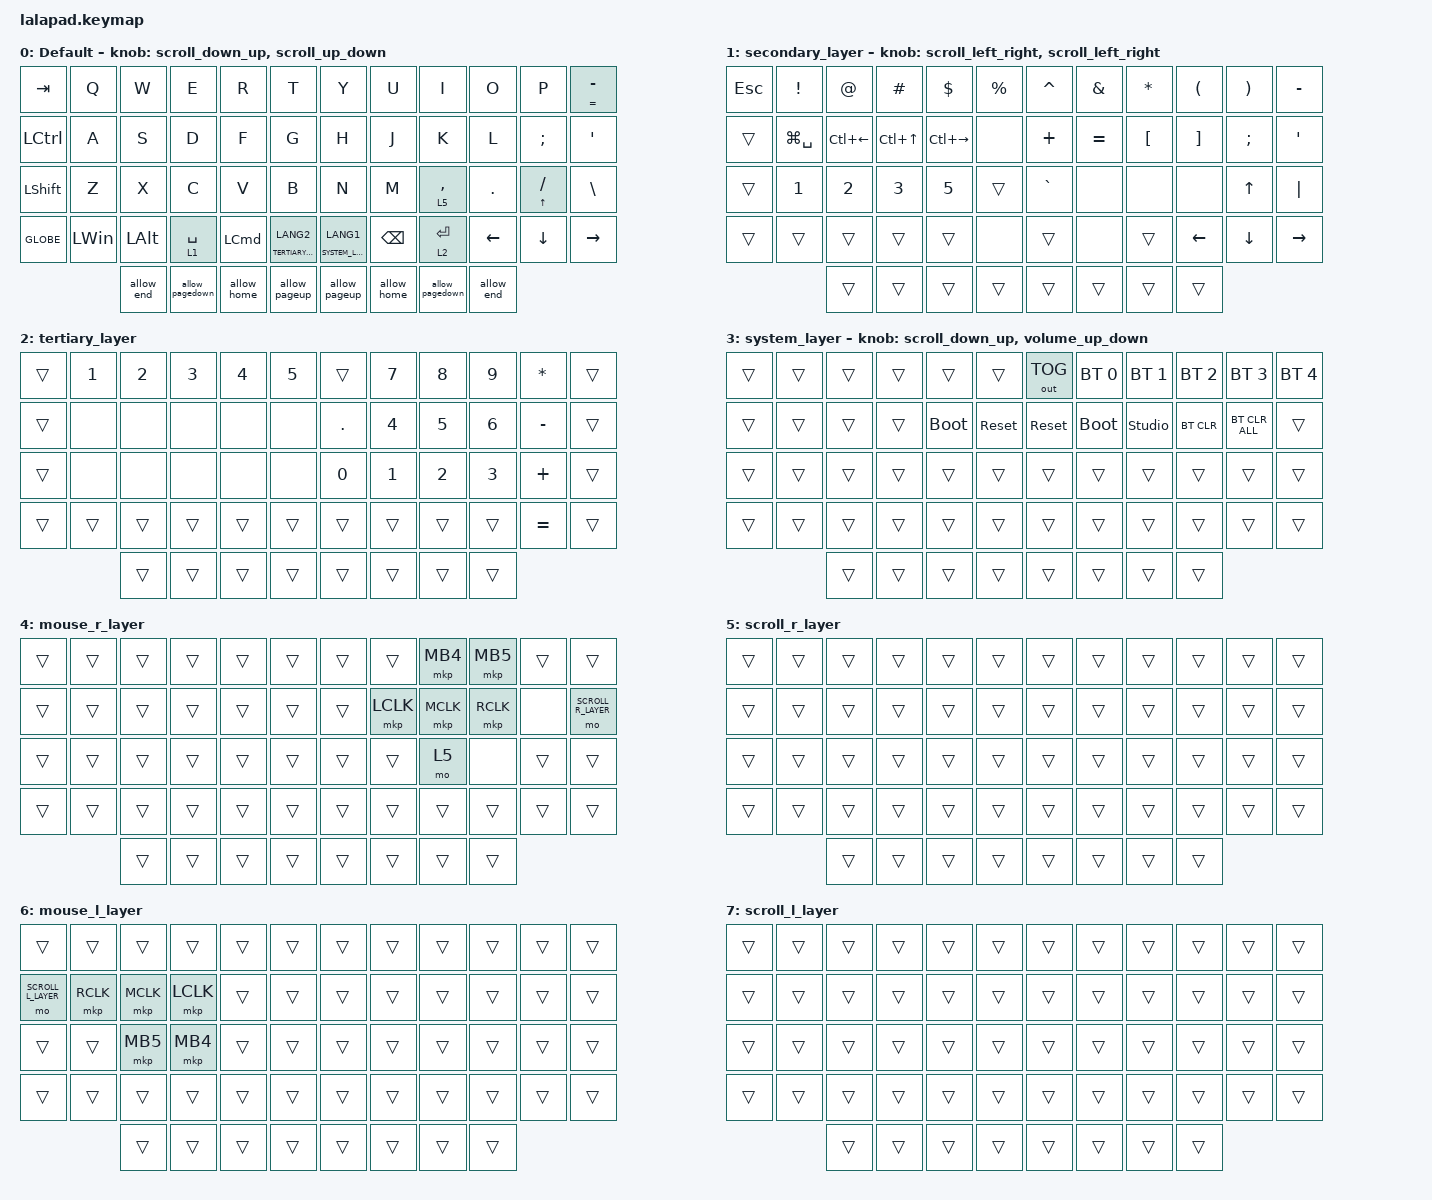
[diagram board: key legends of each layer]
#include <input/processors.dtsi>
#include <behaviors.dtsi>
#include <dt-bindings/zmk/bt.h>
#include <dt-bindings/zmk/keys.h>
#include <dt-bindings/zmk/outputs.h>
#include <dt-bindings/zmk/pointing.h>

#define DEFAULT_LAYER   0
#define SECONDARY_LAYER 1
#define TERTIARY_LAYER  2
#define SYSTEM_LAYER    3
#define MOUSE_R_LAYER   4
#define SCROLL_R_LAYER  5
#define MOUSE_L_LAYER   6
#define SCROLL_L_LAYER  7

// Mouse Scroll Value

#define ZMK_POINTING_DEFAULT_SCRL_VAL 100

// cirque trackpad input&layer control

&glidepoint_listener_R {
    input-processors =
        <&zip_xy_transform (INPUT_TRANSFORM_XY_SWAP | INPUT_TRANSFORM_X_INVERT | INPUT_TRANSFORM_Y_INVERT)>,
        <&zip_xy_scaler 4 2>,
        <&zip_temp_layer MOUSE_R_LAYER 500>;

    lowspeedmode {
        layers = <SECONDARY_LAYER>;
        input-processors =
            <&zip_xy_transform (INPUT_TRANSFORM_XY_SWAP | INPUT_TRANSFORM_X_INVERT | INPUT_TRANSFORM_Y_INVERT)>,
            <&zip_xy_scaler 3 5>,
            <&zip_temp_layer MOUSE_R_LAYER 500>;
    };

    scroller {
        layers = <SCROLL_R_LAYER>;
        input-processors =
            <&zip_xy_to_scroll_mapper>,
            <&zip_scroll_transform (INPUT_TRANSFORM_XY_SWAP)>,
            <&zip_scroll_scaler 1 8>;
    };
};

&glidepoint_listener_L {
    input-processors =
        <&zip_xy_transform (INPUT_TRANSFORM_XY_SWAP | INPUT_TRANSFORM_X_INVERT | INPUT_TRANSFORM_Y_INVERT)>,
        <&zip_xy_scaler 4 2>,
        <&zip_temp_layer MOUSE_L_LAYER 500>;

    lowspeedmode {
        layers = <SECONDARY_LAYER>;
        input-processors =
            <&zip_xy_transform (INPUT_TRANSFORM_XY_SWAP | INPUT_TRANSFORM_X_INVERT | INPUT_TRANSFORM_Y_INVERT)>,
            <&zip_xy_scaler 3 4>,
            <&zip_temp_layer MOUSE_L_LAYER 500>;
    };

    scroller {
        layers = <SCROLL_L_LAYER>;
        input-processors =
            <&zip_xy_to_scroll_mapper>,
            <&zip_scroll_transform (INPUT_TRANSFORM_XY_SWAP)>,
            <&zip_scroll_scaler 1 6>;
    };
};

/ {
    behaviors {
        // Encoder to Mouse Scroll

        scroll_up_down: sensor_scroll_up_down {
            compatible = "zmk,behavior-sensor-rotate";
            #sensor-binding-cells = <0>;
            bindings = <&msc SCRL_UP>, <&msc SCRL_DOWN>;

            tap-ms = <20>;
            label = "SCROLL_UP_DOWN";
        };

        scroll_down_up: sensor_scroll_down_up {
            compatible = "zmk,behavior-sensor-rotate";
            #sensor-binding-cells = <0>;
            bindings = <&msc SCRL_DOWN>, <&msc SCRL_UP>;

            tap-ms = <20>;
            label = "SCROLL_DOWN_UP";
        };

        scroll_left_right: sensor_scroll_left_right {
            compatible = "zmk,behavior-sensor-rotate";
            #sensor-binding-cells = <0>;
            bindings = <&msc SCRL_LEFT>, <&msc SCRL_RIGHT>;

            tap-ms = <20>;
            label = "SCROLL_LEFT_RIGHT";
        };

        scroll_right_left: sensor_scroll_right_left {
            compatible = "zmk,behavior-sensor-rotate";
            #sensor-binding-cells = <0>;
            bindings = <&msc SCRL_RIGHT>, <&msc SCRL_LEFT>;

            tap-ms = <20>;
            label = "SCROLL_RIGHT_LEFT";
        };

        volume_up_down: sensor_volume_up_down {
            compatible = "zmk,behavior-sensor-rotate";
            #sensor-binding-cells = <0>;
            bindings = <&kp C_VOLUME_UP>, <&kp C_VOLUME_DOWN>;

            tap-ms = <20>;
            label = "VOLUME_UP_DOWN";
        };

        dot_comma: dot_comma {
            compatible = "zmk,behavior-mod-morph";
            #binding-cells = <0>;
            bindings = <&kp KP_DOT>, <&kp COMMA>;

            mods = <(MOD_LSFT|MOD_RSFT)>;
            label = "DOT_COMMA";
        };

        pls_minus: pls_minus {
            compatible = "zmk,behavior-mod-morph";
            #binding-cells = <0>;
            bindings = <&kp PLUS>, <&kp MINUS>;

            mods = <(MOD_LSFT|MOD_RSFT)>;
            label = "PLS_MINUS";
        };

        allow_pageup: allow_pageup {
            compatible = "zmk,behavior-mod-morph";
            #binding-cells = <0>;
            bindings = <&kp UP>, <&kp PAGE_UP>;

            mods = <(MOD_LCTL|MOD_RCTL)>;
            label = "ALLOW_PAGEUP";
        };

        allow_pagedown: allow_pagedown {
            compatible = "zmk,behavior-mod-morph";
            #binding-cells = <0>;
            bindings = <&kp DOWN>, <&kp PAGE_DOWN>;

            mods = <(MOD_LCTL|MOD_RCTL)>;
            label = "ALLOW_PAGEDOWN";
        };

        allow_home: allow_home {
            compatible = "zmk,behavior-mod-morph";
            #binding-cells = <0>;
            bindings = <&kp LEFT>, <&kp HOME>;

            mods = <(MOD_LCTL|MOD_RCTL)>;
            label = "ALLOW_HOME";
        };

        allow_end: allow_end {
            compatible = "zmk,behavior-mod-morph";
            #binding-cells = <0>;
            bindings = <&kp RIGHT>, <&kp END>;

            mods = <(MOD_LCTL|MOD_RCTL)>;
            label = "ALLOW_END";
        };

        mt2: mod_tap2 {
            compatible = "zmk,behavior-hold-tap";
            #binding-cells = <2>;
            flavor = "tap-preferred";
            tapping-term-ms = <200>;
            quick-tap-ms = <200>;
            require-prior-idle-ms = <125>;
            bindings = <&kp>, <&kp>;
        };
    };

    combos {
        compatible = "zmk,combos";

        lang2 {
            bindings = <&kp LANG2>;
            key-positions = <7 8>;
        };

        lang1 {
            bindings = <&kp LANG1>;
            key-positions = <8 9>;
        };
    };

    keymap {
        compatible = "zmk,keymap";

        DEFAULT_LAYER {
            display-name = "Default";
            sensor-bindings = <&scroll_down_up>, <&scroll_up_down>;

            bindings = <
&kp TAB           &kp Q         &kp W         &kp E            &kp R             &kp T                     &kp Y                   &kp U          &kp I            &kp O       &kp P          &mt EQUAL MINUS
&kp LEFT_CONTROL  &kp A         &kp S         &kp D            &kp F             &kp G                     &kp H                   &kp J          &kp K            &kp L       &kp SEMI       &kp SQT
&kp LSHFT         &kp Z         &kp X         &kp C            &kp V             &kp B                     &kp N                   &kp M          &lt 5 COMMA      &kp PERIOD  &mt2 UP SLASH  &kp BSLH
&kp GLOBE         &kp LEFT_WIN  &kp LEFT_ALT  &lt 1 SPACE      &kp LEFT_COMMAND  &lt TERTIARY_LAYER LANG2  &lt SYSTEM_LAYER LANG1  &kp BACKSPACE  &lt 2 ENTER      &kp LEFT    &kp DOWN       &kp RIGHT
                                &allow_end    &allow_pagedown  &allow_home       &allow_pageup             &allow_pageup           &allow_home    &allow_pagedown  &allow_end
            >;
        };

        SECONDARY_LAYER {
            display-name = "secondary_layer";
            sensor-bindings = <&scroll_left_right>, <&scroll_left_right>;

            bindings = <
&kp ESCAPE  &kp EXCLAMATION  &kp AT_SIGN   &kp HASH          &kp DOLLAR     &kp PERCENT  &kp CARET  &kp AMPERSAND  &kp ASTERISK      &kp LEFT_PARENTHESIS  &kp RIGHT_PARENTHESIS  &kp MINUS
&trans      &kp LG(SPACE)    &kp LC(LEFT)  &kp LC(UP_ARROW)  &kp LC(RIGHT)  &none        &kp PLUS   &kp EQUAL      &kp LEFT_BRACKET  &kp RIGHT_BRACKET     &kp SEMICOLON          &kp SQT
&trans      &kp NUMBER_1     &kp NUMBER_2  &kp NUMBER_3      &kp NUMBER_5   &trans       &kp GRAVE  &none          &none             &none                 &kp UP_ARROW           &kp PIPE
&trans      &trans           &trans        &trans            &trans         &none        &trans     &none          &trans            &kp LEFT              &kp DOWN               &kp RIGHT
                             &trans        &trans            &trans         &trans       &trans     &trans         &trans            &trans
            >;
        };

        TERTIARY_LAYER {
            display-name = "tertiary_layer";
            bindings = <
&trans  &kp NUMBER_1  &kp NUMBER_2  &kp NUMBER_3  &kp NUMBER_4  &kp NUMBER_5  &trans        &kp NUMBER_7  &kp NUMBER_8  &kp N9        &kp ASTERISK  &trans
&trans  &none         &none         &none         &none         &none         &kp DOT       &kp NUMBER_4  &kp NUMBER_5  &kp NUMBER_6  &kp MINUS     &trans
&trans  &none         &none         &none         &none         &none         &kp NUMBER_0  &kp NUMBER_1  &kp NUMBER_2  &kp NUMBER_3  &kp PLUS      &trans
&trans  &trans        &trans        &trans        &trans        &trans        &trans        &trans        &trans        &trans        &kp EQUAL     &trans
                      &trans        &trans        &trans        &trans        &trans        &trans        &trans        &trans
            >;
        };

        SYSTEM_LAYER {
            display-name = "system_layer";
            sensor-bindings = <&scroll_down_up>, <&volume_up_down>;

            bindings = <
&trans  &trans  &trans  &trans  &trans       &trans      &out OUT_TOG  &bt BT_SEL 0  &bt BT_SEL 1    &bt BT_SEL 2  &bt BT_SEL 3    &bt BT_SEL 4
&trans  &trans  &trans  &trans  &bootloader  &sys_reset  &sys_reset    &bootloader   &studio_unlock  &bt BT_CLR    &bt BT_CLR_ALL  &trans
&trans  &trans  &trans  &trans  &trans       &trans      &trans        &trans        &trans          &trans        &trans          &trans
&trans  &trans  &trans  &trans  &trans       &trans      &trans        &trans        &trans          &trans        &trans          &trans
                &trans  &trans  &trans       &trans      &trans        &trans        &trans          &trans
            >;
        };

        MOUSE_R_LAYER {
            display-name = "mouse_r_layer";
            bindings = <
&trans  &trans  &trans  &trans  &trans  &trans  &trans  &trans     &mkp MB4   &mkp MB5   &trans  &trans
&trans  &trans  &trans  &trans  &trans  &trans  &trans  &mkp LCLK  &mkp MCLK  &mkp RCLK  &none   &mo SCROLL_R_LAYER
&trans  &trans  &trans  &trans  &trans  &trans  &trans  &trans     &mo 5      &none      &trans  &trans
&trans  &trans  &trans  &trans  &trans  &trans  &trans  &trans     &trans     &trans     &trans  &trans
                &trans  &trans  &trans  &trans  &trans  &trans     &trans     &trans
            >;
        };

        SCROLL_R_LAYER {
            display-name = "scroll_r_layer";
            bindings = <
&trans  &trans  &trans  &trans  &trans  &trans  &trans  &trans  &trans  &trans  &trans  &trans
&trans  &trans  &trans  &trans  &trans  &trans  &trans  &trans  &trans  &trans  &trans  &trans
&trans  &trans  &trans  &trans  &trans  &trans  &trans  &trans  &trans  &trans  &trans  &trans
&trans  &trans  &trans  &trans  &trans  &trans  &trans  &trans  &trans  &trans  &trans  &trans
                &trans  &trans  &trans  &trans  &trans  &trans  &trans  &trans
            >;
        };

        MOUSE_L_LAYER {
            display-name = "mouse_l_layer";
            bindings = <
&trans              &trans     &trans     &trans     &trans  &trans  &trans  &trans  &trans  &trans  &trans  &trans
&mo SCROLL_L_LAYER  &mkp RCLK  &mkp MCLK  &mkp LCLK  &trans  &trans  &trans  &trans  &trans  &trans  &trans  &trans
&trans              &trans     &mkp MB5   &mkp MB4   &trans  &trans  &trans  &trans  &trans  &trans  &trans  &trans
&trans              &trans     &trans     &trans     &trans  &trans  &trans  &trans  &trans  &trans  &trans  &trans
                               &trans     &trans     &trans  &trans  &trans  &trans  &trans  &trans
            >;
        };

        SCROLL_L_LAYER {
            display-name = "scroll_l_layer";
            bindings = <
&trans  &trans  &trans  &trans  &trans  &trans  &trans  &trans  &trans  &trans  &trans  &trans
&trans  &trans  &trans  &trans  &trans  &trans  &trans  &trans  &trans  &trans  &trans  &trans
&trans  &trans  &trans  &trans  &trans  &trans  &trans  &trans  &trans  &trans  &trans  &trans
&trans  &trans  &trans  &trans  &trans  &trans  &trans  &trans  &trans  &trans  &trans  &trans
                &trans  &trans  &trans  &trans  &trans  &trans  &trans  &trans
            >;
        };
    };
};
